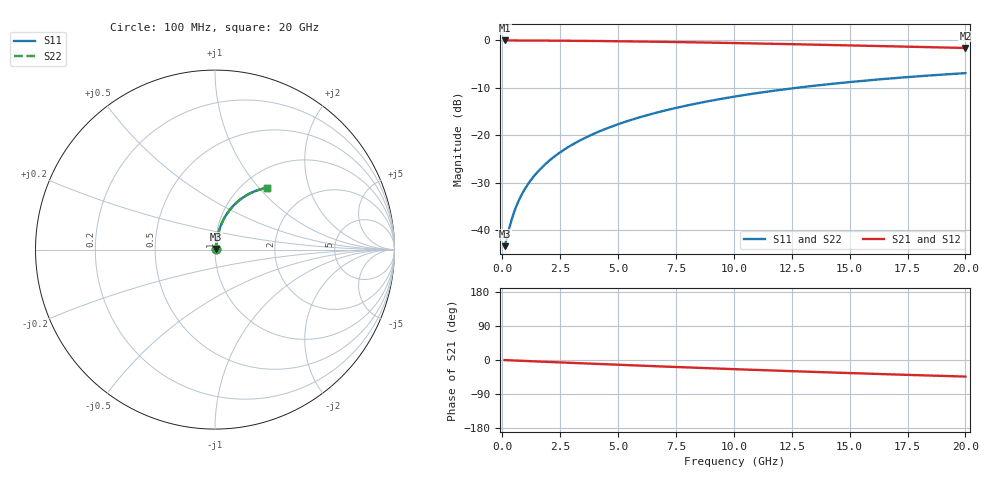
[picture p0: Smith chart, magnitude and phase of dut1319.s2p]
! Touchstone file exported from HFSS 2024.1.0
!  File:  C:/UserFiles/LocalFiles/RDL_TSV_Batchsim/temp_RDL_bottom_1319_1780368898.aedt
!  Generated:  10:57:39 AM Jun  2, 2026
!  Design:  RDL_bottom
!  Project:  temp_RDL_bottom_1319_1780368898
!  Setup:  Setup1
!  Solution:  Sweep
! Variables:
!  dtsv = 10.80580581um
!  hbump = 3um
!  htsv = 95.57um
!  ldown = 602.79um
!  lrdl = 100um
!  p = 40
!  p1 = 40.82um
!  rhole = 1um
!  t = 450um
!  tdown = 2.57um
!  trdl = 3.915915916um
!  wdown = 13.72um
!  wrdl = 20um
# GHz S MA R 50.000000
! Terminal data exported
! Port[1] = RDL1_T1
! Port[2] = RDL1_T2
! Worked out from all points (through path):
!   200 points, 100 MHz to 20 GHz, reference 50 ohm
!   highest |S21| = -0.05 dB at 100 MHz (marker M1); lowest = -1.6 dB at 20 GHz (marker M2)
!   group delay of S21, straight-line fit = 6.08 ps
!   lowest |S11| = -43.4 dB at 100 MHz (marker M3), VSWR 1.01, Z = 50.6 + j0.281 ohm
!   |S11| at or under -10 dB: start of sweep to 12.77 GHz
!   |S22| runs from -43.4 to -6.9 dB; largest |S21 - S12| = 4e-15
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0.1  0.006758 24.2  0.9938 -0.3  0.9938 -0.3  0.006758 24.2
! Gamma 0 0 0 0
! Port Impedance 50 0 50 0
0.4  0.01277 58.9  0.9934 -1.1  0.9934 -1.1  0.01277 58.9
0.5  0.0152 63.4  0.9932 -1.3  0.9932 -1.3  0.0152 63.4
0.6  0.01767 66.6  0.993 -1.6  0.993 -1.6  0.01767 66.6
0.7  0.02016 68.9  0.9928 -1.8  0.9928 -1.8  0.02016 68.9
0.9  0.02517 72.1  0.9924 -2.3  0.9924 -2.3  0.02517 72.1
1.2  0.03273 75.0  0.9917 -3.1  0.9917 -3.1  0.03273 75.0
1.4  0.03779 76.2  0.9913 -3.6  0.9913 -3.6  0.03779 76.2
1.7  0.04541 77.4  0.9905 -4.4  0.9905 -4.4  0.04541 77.4
2.2  0.05819 78.4  0.989 -5.6  0.989 -5.6  0.05819 78.4
2.8  0.0736 78.7  0.9869 -7.1  0.9869 -7.1  0.0736 78.7
3.5  0.09162 78.5  0.9838 -8.9  0.9838 -8.9  0.09162 78.5
4.2  0.1096 77.8  0.9802 -10.6  0.9802 -10.6  0.1096 77.9
5  0.1302 76.8  0.9754 -12.6  0.9754 -12.6  0.1302 76.9
5.9  0.1532 75.5  0.9693 -14.7  0.9693 -14.7  0.1532 75.6
6.8  0.1759 74.0  0.9624 -16.9  0.9624 -16.9  0.1759 74.1
8.4  0.2156 71.2  0.9488 -20.6  0.9488 -20.6  0.2156 71.2
10.1  0.2563 68.0  0.9328 -24.4  0.9328 -24.4  0.2564 68.0
11.7  0.2929 64.9  0.9167 -27.8  0.9167 -27.8  0.293 65.0
13.4  0.3296 61.7  0.8988 -31.3  0.8988 -31.3  0.3298 61.8
16.7  0.3943 55.6  0.8633 -37.8  0.8633 -37.8  0.3945 55.7
20  0.4499 49.9  0.828 -43.7  0.828 -43.7  0.4501 50.0
